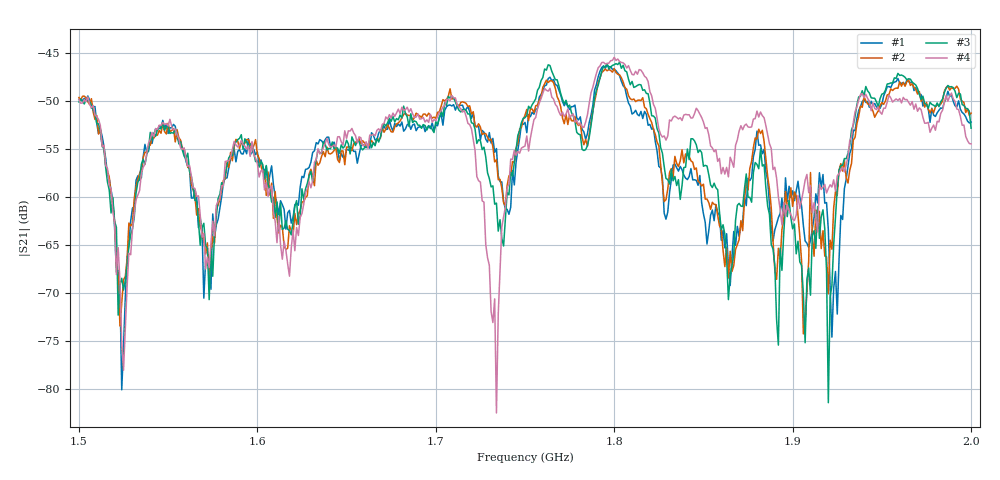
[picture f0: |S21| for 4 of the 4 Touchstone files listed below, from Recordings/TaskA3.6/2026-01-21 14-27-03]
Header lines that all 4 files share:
! NanoVNA-App by SYSJOINT et al v1.1.209 (+OD18)
! Start: 1,5GHz Stop: 2GHz Points: 501
! S-Parameter data: F S11 S21 S12 S22
# Hz S RI R 50
!  Frequency  S11_Real  S11_Imag  S21_Real  S21_Imag  S12_Real  S12_Imag  S22_Real  S22_Imag
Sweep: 1.5 GHz to 2 GHz
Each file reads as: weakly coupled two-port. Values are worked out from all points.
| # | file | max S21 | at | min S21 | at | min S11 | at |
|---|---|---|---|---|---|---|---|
| 1 | 0.s2p | -46.22 dB | 1.796 GHz | -80.1 dB | 1.524 GHz | -30.9 dB | 1.816 GHz |
| 2 | 1.s2p | -46.59 dB | 1.8 GHz | -74.3 dB | 1.906 GHz | -30.5 dB | 1.817 GHz |
| 3 | 2.s2p | -45.93 dB | 1.803 GHz | -81.4 dB | 1.92 GHz | -30.1 dB | 1.817 GHz |
| 4 | 3.s2p | -45.41 dB | 1.8 GHz | -82.5 dB | 1.734 GHz | -30.4 dB | 1.817 GHz |
